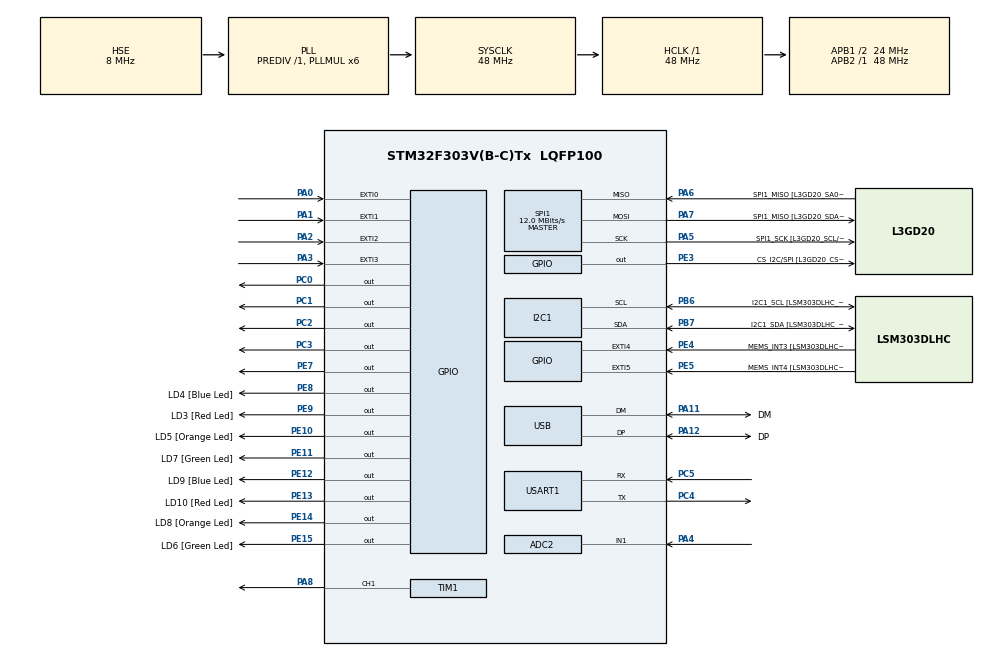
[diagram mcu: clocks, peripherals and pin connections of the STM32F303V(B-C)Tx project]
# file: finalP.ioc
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ADC2.Channel-0\#ChannelRegularConversion=ADC_CHANNEL_1
ADC2.NbrOfConversionFlag=1
ADC2.Offset-0\#ChannelRegularConversion=0
ADC2.OffsetNumber-0\#ChannelRegularConversion=ADC_OFFSET_NONE
ADC2.Rank-0\#ChannelRegularConversion=1
ADC2.SamplingTime-0\#ChannelRegularConversion=ADC_SAMPLETIME_1CYCLE_5
ADC2.SamplingTimeOPAMP-0\#ChannelRegularConversion=ADC_SAMPLETIME_19CYCLES_5
FREERTOS.BinarySemaphores01=keypadSem,Dynamic,NULL;uartITSem,Dynamic,NULL
FREERTOS.Mutexes01=lcdMutex,Dynamic,NULL
FREERTOS.Tasks01=defaultTask,24,128,StartDefaultTask,Default,NULL,Dynamic,NULL,NULL;updateLcdTsk,8,128,StartUpdateLcdTsk,Default,NULL,Dynamic,NULL,NULL;uartTxTsk,32,128,StartUartTxTsk,Default,NULL,Dynamic,NULL,NULL;lcdStateTask,8,128,StartLcdStateTask,Default,NULL,Dynamic,NULL,NULL;bulletMoveTask,8,128,StartBulletMoveTask,Default,NULL,Dynamic,NULL,NULL;buzzerTask,8,128,StartBuzzerTask,Default,NULL,Dynamic,NULL,NULL
FREERTOS.configTOTAL_HEAP_SIZE=6144
FREERTOS.configUSE_NEWLIB_REENTRANT=1
I2C1.Timing=0x2000090E
I2C1.Timing-I2C=0x2000090E
Mcu.Family=STM32F3
Mcu.Name=STM32F303V(B-C)Tx
Mcu.Package=LQFP100
NVIC.ADC1_2_IRQn=true\:5\:0\:false\:false\:true\:true\:true\:true
NVIC.EXTI0_IRQn=true\:5\:0\:false\:false\:true\:true\:true\:true
NVIC.EXTI1_IRQn=true\:5\:0\:false\:false\:true\:true\:true\:true
NVIC.EXTI2_TSC_IRQn=true\:5\:0\:false\:false\:true\:true\:true\:true
NVIC.EXTI3_IRQn=true\:5\:0\:false\:false\:true\:true\:true\:true
NVIC.PriorityGroup=NVIC_PRIORITYGROUP_4
NVIC.TIM1_TRG_COM_TIM17_IRQn=true\:5\:0\:false\:false\:true\:true\:false\:true
NVIC.TIM2_IRQn=true\:5\:0\:false\:false\:true\:true\:true\:true
NVIC.TIM6_DAC_IRQn=true\:15\:0\:false\:false\:true\:false\:false\:true
NVIC.TimeBase=TIM6_DAC_IRQn
NVIC.TimeBaseIP=TIM6
NVIC.USART1_IRQn=true\:5\:0\:false\:false\:true\:true\:true\:true
PA0.GPIO_PuPd=GPIO_PULLDOWN
PA0.Signal=GPXTI0
PA1.GPIO_PuPd=GPIO_PULLDOWN
PA1.Signal=GPXTI1
PA11.GPIO_Label=DM
PA11.Mode=Device
PA11.Signal=USB_DM
PA12.GPIO_Label=DP
PA12.Mode=Device
PA12.Signal=USB_DP
PA13.GPIO_Label=SWDIO
PA13.Mode=Serial_Wire
PA13.Signal=SYS_JTMS-SWDIO
PA14.GPIO_Label=SWCLK
PA14.Mode=Serial_Wire
PA14.Signal=SYS_JTCK-SWCLK
PA2.GPIO_PuPd=GPIO_PULLDOWN
PA2.Signal=GPXTI2
PA3.GPIO_PuPd=GPIO_PULLDOWN
PA3.Signal=GPXTI3
PA4.Mode=IN1-Single-Ended
PA4.Signal=ADC2_IN1
PA5.GPIO_Label=SPI1_SCK [L3GD20_SCL/SPC]
PA5.Mode=Full_Duplex_Master
PA5.Signal=SPI1_SCK
PA6.GPIO_Label=SPI1_MISO [L3GD20_SA0/SDO]
PA6.Mode=Full_Duplex_Master
PA6.Signal=SPI1_MISO
PA7.GPIO_Label=SPI1_MISO [L3GD20_SDA/SDI/SDO]
PA7.Mode=Full_Duplex_Master
PA7.Signal=SPI1_MOSI
PA8.Signal=S_TIM1_CH1
PB3.GPIO_Label=SWO
PB3.Signal=SYS_JTDO-TRACESWO
PB6.GPIO_Label=I2C1_SCL [LSM303DLHC_SCL]
PB6.GPIO_Pu=GPIO_PULLUP
PB6.Mode=I2C
PB6.Signal=I2C1_SCL
PB7.GPIO_Label=I2C1_SDA [LSM303DLHC_SDA]
PB7.GPIO_Pu=GPIO_PULLUP
PB7.Mode=I2C
PB7.Signal=I2C1_SDA
PC0.Signal=GPIO_Output
PC1.Signal=GPIO_Output
PC14-OSC32_IN.GPIO_Label=OSC32_IN
PC14-OSC32_IN.Signal=RCC_OSC32_IN
PC15-OSC32_OUT.GPIO_Label=OSC32_OUT
PC15-OSC32_OUT.Signal=RCC_OSC32_OUT
PC2.Signal=GPIO_Output
PC3.Signal=GPIO_Output
PC4.Mode=Asynchronous
PC4.Signal=USART1_TX
PC5.Mode=Asynchronous
PC5.Signal=USART1_RX
PE10.GPIO_Label=LD5 [Orange Led]
PE10.Signal=GPIO_Output
PE11.GPIO_Label=LD7 [Green Led]
PE11.Signal=GPIO_Output
PE12.GPIO_Label=LD9 [Blue Led]
PE12.Signal=GPIO_Output
PE13.GPIO_Label=LD10 [Red Led]
PE13.Signal=GPIO_Output
PE14.GPIO_Label=LD8 [Orange Led]
PE14.Signal=GPIO_Output
PE15.GPIO_Label=LD6 [Green Led]
PE15.Signal=GPIO_Output
PE3.GPIO_Label=CS_I2C/SPI [L3GD20_CS_I2C/SPI]
PE3.Signal=GPIO_Output
PE4.GPIO_Label=MEMS_INT3 [LSM303DLHC_INT1]
PE4.GPIO_ModeDefaultEXTI=GPIO_MODE_EVT_RISING
PE4.Signal=GPXTI4
PE5.GPIO_Label=MEMS_INT4 [LSM303DLHC_INT2]
PE5.GPIO_ModeDefaultEXTI=GPIO_MODE_EVT_RISING
PE5.Signal=GPXTI5
PE7.Signal=GPIO_Output
PE8.GPIO_Label=LD4 [Blue Led]
PE8.Signal=GPIO_Output
PE9.GPIO_Label=LD3 [Red Led]
PE9.Signal=GPIO_Output
PF0-OSC_IN.GPIO_Label=OSC_IN
PF0-OSC_IN.Mode=HSE-External-Clock-Source
PF0-OSC_IN.Signal=RCC_OSC_IN
PF1-OSC_OUT.GPIO_Label=OSC_OUT
PF1-OSC_OUT.Signal=RCC_OSC_OUT
ProjectManager.HeapSize=0x200
ProjectManager.StackSize=0x400
ProjectManager.TargetToolchain=STM32CubeIDE
RCC.AHBFreq_Value=48000000
RCC.APB1CLKDivider=RCC_HCLK_DIV2
RCC.APB1Freq_Value=24000000
RCC.APB1TimFreq_Value=48000000
RCC.APB2Freq_Value=48000000
RCC.APB2TimFreq_Value=48000000
RCC.CortexFreq_Value=48000000
RCC.HCLKFreq_Value=48000000
RCC.HSE_VALUE=8000000
RCC.HSI_VALUE=8000000
RCC.LSE_VALUE=32768
RCC.PLLMUL=RCC_PLL_MUL6
RCC.SYSCLKFreq_VALUE=48000000
RCC.SYSCLKSourceVirtual=RCC_SYSCLKSOURCE_PLLCLK
RCC.USBFreq_Value=48000000
SH.S_TIM1_CH1.0=TIM1_CH1,PWM Generation1 CH1
SPI1.BaudRatePrescaler=SPI_BAUDRATEPRESCALER_4
SPI1.BaudRatePrescaler-Full_Duplex_Master=SPI_BAUDRATEPRESCALER_2
SPI1.CalculateBaudRate=12.0 MBits/s
SPI1.CalculateBaudRate-Full_Duplex_Master=24.0 MBits/s
SPI1.Direction=SPI_DIRECTION_2LINES
SPI1.Mode=SPI_MODE_MASTER
SPI1.Mode-Full_Duplex_Master=SPI_MODE_MASTER
SPI1.VirtualType=VM_MASTER
TIM1.Channel-PWM\ Generation1\ CH1=TIM_CHANNEL_1
TIM2.Period=1000
TIM2.Prescaler=143
USART1.VirtualMode-Asynchronous=VM_ASYNC
VP_FREERTOS_VS_CMSIS_V2.Mode=CMSIS_V2
VP_RTC_VS_RTC_Activate.Mode=RTC_Enabled
VP_RTC_VS_RTC_Calendar.Mode=RTC_Calendar
VP_SYS_VS_tim6.Mode=TIM6
VP_TIM1_VS_ClockSourceINT.Mode=Internal
VP_TIM2_VS_ClockSourceINT.Mode=Internal
board=STM32F3DISCOVERY

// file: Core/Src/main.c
/* USER CODE BEGIN Header */
/**
 ******************************************************************************
 * @file           : main.c
 * @brief          : Main program body
 ******************************************************************************
 * @attention
 *
 * <h2><center>&copy; Copyright (c) 2023 STMicroelectronics.
 * All rights reserved.</center></h2>
 *
 * This software component is licensed by ST under BSD 3-Clause license,
 * the "License"; You may not use this file except in compliance with the
 * License. You may obtain a copy of the License at:
 *                        opensource.org/licenses/BSD-3-Clause
 *
 ******************************************************************************
 */
/* USER CODE END Header */
#include "main.h"
#include "cmsis_os.h"
#include "buzzer.h"

/* USER CODE BEGIN PD */
int bulletMoveDelay = 100;
/* USER CODE END PD */

ADC_HandleTypeDef hadc2;

I2C_HandleTypeDef hi2c1;

RTC_HandleTypeDef hrtc;

SPI_HandleTypeDef hspi1;

TIM_HandleTypeDef htim1;
TIM_HandleTypeDef htim2;

UART_HandleTypeDef huart1;

PCD_HandleTypeDef hpcd_USB_FS;

/* Definitions for defaultTask */
osThreadId_t defaultTaskHandle;
const osThreadAttr_t defaultTask_attributes = { .name = "defaultTask",
		.stack_size = 128 * 4, .priority = (osPriority_t) osPriorityNormal, };
/* Definitions for updateLcdTsk */
osThreadId_t updateLcdTskHandle;
const osThreadAttr_t updateLcdTsk_attributes = { .name = "updateLcdTsk",
		.stack_size = 128 * 4, .priority = (osPriority_t) osPriorityLow, };
/* Definitions for uartTxTsk */
osThreadId_t uartTxTskHandle;
const osThreadAttr_t uartTxTsk_attributes = { .name = "uartTxTsk", .stack_size =
		128 * 4, .priority = (osPriority_t) osPriorityAboveNormal, };
/* Definitions for lcdStateTask */
osThreadId_t lcdStateTaskHandle;
const osThreadAttr_t lcdStateTask_attributes = { .name = "lcdStateTask",
		.stack_size = 128 * 4, .priority = (osPriority_t) osPriorityLow, };
/* Definitions for bulletMoveTask */
osThreadId_t bulletMoveTaskHandle;
const osThreadAttr_t bulletMoveTask_attributes = { .name = "bulletMoveTask",
		.stack_size = 128 * 4, .priority = (osPriority_t) osPriorityLow, };
/* Definitions for buzzerTask */
osThreadId_t buzzerTaskHandle;
const osThreadAttr_t buzzerTask_attributes = { .name = "buzzerTask",
		.stack_size = 128 * 4, .priority = (osPriority_t) osPriorityLow, };
/* Definitions for lcdMutex */
osMutexId_t lcdMutexHandle;
const osMutexAttr_t lcdMutex_attributes = { .name = "lcdMutex" };
/* Definitions for keypadSem */
osSemaphoreId_t keypadSemHandle;
const osSemaphoreAttr_t keypadSem_attributes = { .name = "keypadSem" };
/* Definitions for uartITSem */
osSemaphoreId_t uartITSemHandle;
const osSemaphoreAttr_t uartITSem_attributes = { .name = "uartITSem" };
/* USER CODE BEGIN PV */
extern int flag;
char op[2];
int len;
extern uint8_t keypadNum;
typedef unsigned char byte;
//byte five[] = { 0x02, 0x0D, 0x14, 0x1C, 0x1C, 0x14, 0x0D, 0x02 };
//byte four[] = { 0x04, 0x17, 0x0D, 0x15, 0x14, 0x0D, 0x17, 0x04 };
//byte three[] = { 0x02, 0x1D, 0x14, 0x1A, 0x1A, 0x14, 0x1D, 0x02 };
//byte tow[] = { 0x1A, 0x15, 0x1C, 0x10, 0x10, 0x1C, 0x15, 0x1A };
//byte one[] = { 0x02, 0x07, 0x0D, 0x14, 0x14, 0x0D, 0x07, 0x02 };
//byte player[] = { 0x01, 0x03, 0x07, 0x1F, 0x1F, 0x07, 0x03, 0x01 };
//
//int pos[20][4] = { { 5, 5, 5, 5 }, { 5, 5, 5, 5 }, { 4, 4, 4, 4 },
//		{ 4, 4, 4, 4 }, { 3, 3, 3, 3 }, { 3, 3, 3, 3 }, { 2, 2, 2, 2 }, { 2, 2,
//				2, 2 }, { 1, 1, 1, 1 }, { 1, 1, 1, 1 }, { -1, -1, -1, -1 }, {
//				-1, -1, -1, -1 }, { -1, -1, -1, -1 }, { -1, -1, -1, -1 }, { -1,
//				-1, -1, -1 }, { -1, -1, -1, -1 }, { -1, -1, -1, -1 }, { -1, -1,
//				-1, -1 }, { -1, -1, -1, -1 }, { -1, -1, -1, 0 } };
/* USER CODE END PV */

void SystemClock_Config(void);
static void MX_GPIO_Init(void);
static void MX_I2C1_Init(void);
static void MX_SPI1_Init(void);
static void MX_USB_PCD_Init(void);
static void MX_TIM1_Init(void);
static void MX_TIM2_Init(void);
static void MX_USART1_UART_Init(void);
static void MX_ADC2_Init(void);
static void MX_RTC_Init(void);
void StartDefaultTask(void *argument);
void StartUpdateLcdTsk(void *argument);
void StartUartTxTsk(void *argument);
void StartLcdStateTask(void *argument);
void StartBulletMoveTask(void *argument);
void StartBuzzerTask(void *argument);

/* USER CODE BEGIN PFP */
void setup(void);
void showPos(void);
/* USER CODE END PFP */

int main(void) {

	/* MCU Configuration--------------------------------------------------------*/

	/* Reset of all peripherals, Initializes the Flash interface and the Systick. */
	HAL_Init();

	/* Configure the system clock */
	SystemClock_Config();

	/* Initialize all configured peripherals */
	MX_GPIO_Init();
	MX_I2C1_Init();
	MX_SPI1_Init();
	MX_USB_PCD_Init();
	MX_TIM1_Init();
	MX_TIM2_Init();
	MX_USART1_UART_Init();
	MX_ADC2_Init();
	MX_RTC_Init();
	/* USER CODE BEGIN 2 */
	programInit();

	/* USER CODE END 2 */

	/* Init scheduler */
	osKernelInitialize();
	/* Create the mutex(es) */
	/* creation of lcdMutex */
	lcdMutexHandle = osMutexNew(&lcdMutex_attributes);

	/* Create the semaphores(s) */
	/* creation of keypadSem */
	keypadSemHandle = osSemaphoreNew(1, 1, &keypadSem_attributes);

	/* creation of uartITSem */
	uartITSemHandle = osSemaphoreNew(1, 1, &uartITSem_attributes);

	/* Create the thread(s) */
	/* creation of defaultTask */
	defaultTaskHandle = osThreadNew(StartDefaultTask, NULL,
			&defaultTask_attributes);

	/* creation of updateLcdTsk */
	updateLcdTskHandle = osThreadNew(StartUpdateLcdTsk, NULL,
			&updateLcdTsk_attributes);

	/* creation of uartTxTsk */
	uartTxTskHandle = osThreadNew(StartUartTxTsk, NULL, &uartTxTsk_attributes);

	/* creation of lcdStateTask */
	lcdStateTaskHandle = osThreadNew(StartLcdStateTask, NULL,
			&lcdStateTask_attributes);

	/* creation of bulletMoveTask */
	bulletMoveTaskHandle = osThreadNew(StartBulletMoveTask, NULL,
			&bulletMoveTask_attributes);

	/* creation of buzzerTask */
	buzzerTaskHandle = osThreadNew(StartBuzzerTask, NULL,
			&buzzerTask_attributes);

	/* Start scheduler */
	osKernelStart();

	/* We should never get here as control is now taken by the scheduler */
	/* Infinite loop */
	while (1) {

	}
}

void SystemClock_Config(void) {
	RCC_OscInitTypeDef RCC_OscInitStruct = { 0 };
	RCC_ClkInitTypeDef RCC_ClkInitStruct = { 0 };
	RCC_PeriphCLKInitTypeDef PeriphClkInit = { 0 };

	/** Initializes the RCC Oscillators according to the specified parameters
	 * in the RCC_OscInitTypeDef structure.
	 */
	RCC_OscInitStruct.OscillatorType = RCC_OSCILLATORTYPE_HSI
			| RCC_OSCILLATORTYPE_LSI | RCC_OSCILLATORTYPE_HSE;
	RCC_OscInitStruct.HSEState = RCC_HSE_BYPASS;
	RCC_OscInitStruct.HSEPredivValue = RCC_HSE_PREDIV_DIV1;
	RCC_OscInitStruct.HSIState = RCC_HSI_ON;
	RCC_OscInitStruct.HSICalibrationValue = RCC_HSICALIBRATION_DEFAULT;
	RCC_OscInitStruct.LSIState = RCC_LSI_ON;
	RCC_OscInitStruct.PLL.PLLState = RCC_PLL_ON;
	RCC_OscInitStruct.PLL.PLLSource = RCC_PLLSOURCE_HSE;
	RCC_OscInitStruct.PLL.PLLMUL = RCC_PLL_MUL6;
	if (HAL_RCC_OscConfig(&RCC_OscInitStruct) != HAL_OK) {
		Error_Handler();
	}
	/** Initializes the CPU, AHB and APB buses clocks
	 */
	RCC_ClkInitStruct.ClockType = RCC_CLOCKTYPE_HCLK | RCC_CLOCKTYPE_SYSCLK
			| RCC_CLOCKTYPE_PCLK1 | RCC_CLOCKTYPE_PCLK2;
	RCC_ClkInitStruct.SYSCLKSource = RCC_SYSCLKSOURCE_PLLCLK;
	RCC_ClkInitStruct.AHBCLKDivider = RCC_SYSCLK_DIV1;
	RCC_ClkInitStruct.APB1CLKDivider = RCC_HCLK_DIV2;
	RCC_ClkInitStruct.APB2CLKDivider = RCC_HCLK_DIV1;

	if (HAL_RCC_ClockConfig(&RCC_ClkInitStruct, FLASH_LATENCY_1) != HAL_OK) {
		Error_Handler();
	}
	PeriphClkInit.PeriphClockSelection = RCC_PERIPHCLK_USB
			| RCC_PERIPHCLK_USART1 | RCC_PERIPHCLK_I2C1 | RCC_PERIPHCLK_RTC
			| RCC_PERIPHCLK_TIM1 | RCC_PERIPHCLK_ADC12;
	PeriphClkInit.Usart1ClockSelection = RCC_USART1CLKSOURCE_PCLK2;
	PeriphClkInit.Adc12ClockSelection = RCC_ADC12PLLCLK_DIV1;
	PeriphClkInit.I2c1ClockSelection = RCC_I2C1CLKSOURCE_HSI;
	PeriphClkInit.RTCClockSelection = RCC_RTCCLKSOURCE_LSI;
	PeriphClkInit.USBClockSelection = RCC_USBCLKSOURCE_PLL;
	PeriphClkInit.Tim1ClockSelection = RCC_TIM1CLK_HCLK;
	if (HAL_RCCEx_PeriphCLKConfig(&PeriphClkInit) != HAL_OK) {
		Error_Handler();
	}
}

static void MX_ADC2_Init(void) {

	ADC_ChannelConfTypeDef sConfig = { 0 };

	/** Common config
	 */
	hadc2.Instance = ADC2;
	hadc2.Init.ClockPrescaler = ADC_CLOCK_ASYNC_DIV1;
	hadc2.Init.Resolution = ADC_RESOLUTION_12B;
	hadc2.Init.ScanConvMode = ADC_SCAN_DISABLE;
	hadc2.Init.ContinuousConvMode = DISABLE;
	hadc2.Init.DiscontinuousConvMode = DISABLE;
	hadc2.Init.ExternalTrigConvEdge = ADC_EXTERNALTRIGCONVEDGE_NONE;
	hadc2.Init.ExternalTrigConv = ADC_SOFTWARE_START;
	hadc2.Init.DataAlign = ADC_DATAALIGN_RIGHT;
	hadc2.Init.NbrOfConversion = 1;
	hadc2.Init.DMAContinuousRequests = DISABLE;
	hadc2.Init.EOCSelection = ADC_EOC_SINGLE_CONV;
	hadc2.Init.LowPowerAutoWait = DISABLE;
	hadc2.Init.Overrun = ADC_OVR_DATA_OVERWRITTEN;
	if (HAL_ADC_Init(&hadc2) != HAL_OK) {
		Error_Handler();
	}
	/** Configure Regular Channel
	 */
	sConfig.Channel = ADC_CHANNEL_1;
	sConfig.Rank = ADC_REGULAR_RANK_1;
	sConfig.SingleDiff = ADC_SINGLE_ENDED;
	sConfig.SamplingTime = ADC_SAMPLETIME_1CYCLE_5;
	sConfig.OffsetNumber = ADC_OFFSET_NONE;
	sConfig.Offset = 0;
	if (HAL_ADC_ConfigChannel(&hadc2, &sConfig) != HAL_OK) {
		Error_Handler();
	}

}

static void MX_I2C1_Init(void) {

	hi2c1.Instance = I2C1;
	hi2c1.Init.Timing = 0x2000090E;
	hi2c1.Init.OwnAddress1 = 0;
	hi2c1.Init.AddressingMode = I2C_ADDRESSINGMODE_7BIT;
	hi2c1.Init.DualAddressMode = I2C_DUALADDRESS_DISABLE;
	hi2c1.Init.OwnAddress2 = 0;
	hi2c1.Init.OwnAddress2Masks = I2C_OA2_NOMASK;
	hi2c1.Init.GeneralCallMode = I2C_GENERALCALL_DISABLE;
	hi2c1.Init.NoStretchMode = I2C_NOSTRETCH_DISABLE;
	if (HAL_I2C_Init(&hi2c1) != HAL_OK) {
		Error_Handler();
	}
	/** Configure Analogue filter
	 */
	if (HAL_I2CEx_ConfigAnalogFilter(&hi2c1, I2C_ANALOGFILTER_ENABLE)
			!= HAL_OK) {
		Error_Handler();
	}
	/** Configure Digital filter
	 */
	if (HAL_I2CEx_ConfigDigitalFilter(&hi2c1, 0) != HAL_OK) {
		Error_Handler();
	}

}

static void MX_RTC_Init(void) {

	RTC_TimeTypeDef sTime = { 0 };
	RTC_DateTypeDef sDate = { 0 };

	/** Initialize RTC Only
	 */
	hrtc.Instance = RTC;
	hrtc.Init.HourFormat = RTC_HOURFORMAT_24;
	hrtc.Init.AsynchPrediv = 127;
	hrtc.Init.SynchPrediv = 255;
	hrtc.Init.OutPut = RTC_OUTPUT_DISABLE;
	hrtc.Init.OutPutPolarity = RTC_OUTPUT_POLARITY_HIGH;
	hrtc.Init.OutPutType = RTC_OUTPUT_TYPE_OPENDRAIN;
	if (HAL_RTC_Init(&hrtc) != HAL_OK) {
		Error_Handler();
	}

	/** Initialize RTC and set the Time and Date
	 */
	sTime.Hours = 0x0;
	sTime.Minutes = 0x0;
	sTime.Seconds = 0x0;
	sTime.DayLightSaving = RTC_DAYLIGHTSAVING_NONE;
	sTime.StoreOperation = RTC_STOREOPERATION_RESET;
	if (HAL_RTC_SetTime(&hrtc, &sTime, RTC_FORMAT_BCD) != HAL_OK) {
		Error_Handler();
	}
	sDate.WeekDay = RTC_WEEKDAY_MONDAY;
	sDate.Month = RTC_MONTH_JANUARY;
	sDate.Date = 0x1;
	sDate.Year = 0x0;

	if (HAL_RTC_SetDate(&hrtc, &sDate, RTC_FORMAT_BCD) != HAL_OK) {
		Error_Handler();
	}

}

static void MX_SPI1_Init(void) {

	/* SPI1 parameter configuration*/
	hspi1.Instance = SPI1;
	hspi1.Init.Mode = SPI_MODE_MASTER;
	hspi1.Init.Direction = SPI_DIRECTION_2LINES;
	hspi1.Init.DataSize = SPI_DATASIZE_4BIT;
	hspi1.Init.CLKPolarity = SPI_POLARITY_LOW;
	hspi1.Init.CLKPhase = SPI_PHASE_1EDGE;
	hspi1.Init.NSS = SPI_NSS_SOFT;
	hspi1.Init.BaudRatePrescaler = SPI_BAUDRATEPRESCALER_4;
	hspi1.Init.FirstBit = SPI_FIRSTBIT_MSB;
	hspi1.Init.TIMode = SPI_TIMODE_DISABLE;
	hspi1.Init.CRCCalculation = SPI_CRCCALCULATION_DISABLE;
	hspi1.Init.CRCPolynomial = 7;
	hspi1.Init.CRCLength = SPI_CRC_LENGTH_DATASIZE;
	hspi1.Init.NSSPMode = SPI_NSS_PULSE_ENABLE;
	if (HAL_SPI_Init(&hspi1) != HAL_OK) {
		Error_Handler();
	}

}

static void MX_TIM1_Init(void) {

	TIM_ClockConfigTypeDef sClockSourceConfig = { 0 };
	TIM_MasterConfigTypeDef sMasterConfig = { 0 };
	TIM_OC_InitTypeDef sConfigOC = { 0 };
	TIM_BreakDeadTimeConfigTypeDef sBreakDeadTimeConfig = { 0 };

	htim1.Instance = TIM1;
	htim1.Init.Prescaler = 0;
	htim1.Init.CounterMode = TIM_COUNTERMODE_UP;
	htim1.Init.Period = 65535;
	htim1.Init.ClockDivision = TIM_CLOCKDIVISION_DIV1;
	htim1.Init.RepetitionCounter = 0;
	htim1.Init.AutoReloadPreload = TIM_AUTORELOAD_PRELOAD_DISABLE;
	if (HAL_TIM_Base_Init(&htim1) != HAL_OK) {
		Error_Handler();
	}
	sClockSourceConfig.ClockSource = TIM_CLOCKSOURCE_INTERNAL;
	if (HAL_TIM_ConfigClockSource(&htim1, &sClockSourceConfig) != HAL_OK) {
		Error_Handler();
	}
	if (HAL_TIM_PWM_Init(&htim1) != HAL_OK) {
		Error_Handler();
	}
	sMasterConfig.MasterOutputTrigger = TIM_TRGO_RESET;
	sMasterConfig.MasterOutputTrigger2 = TIM_TRGO2_RESET;
	sMasterConfig.MasterSlaveMode = TIM_MASTERSLAVEMODE_DISABLE;
	if (HAL_TIMEx_MasterConfigSynchronization(&htim1, &sMasterConfig)
			!= HAL_OK) {
		Error_Handler();
	}
	sConfigOC.OCMode = TIM_OCMODE_PWM1;
	sConfigOC.Pulse = 0;
	sConfigOC.OCPolarity = TIM_OCPOLARITY_HIGH;
	sConfigOC.OCNPolarity = TIM_OCNPOLARITY_HIGH;
	sConfigOC.OCFastMode = TIM_OCFAST_DISABLE;
	sConfigOC.OCIdleState = TIM_OCIDLESTATE_RESET;
	sConfigOC.OCNIdleState = TIM_OCNIDLESTATE_RESET;
	if (HAL_TIM_PWM_ConfigChannel(&htim1, &sConfigOC, TIM_CHANNEL_1)
			!= HAL_OK) {
		Error_Handler();
	}
	sBreakDeadTimeConfig.OffStateRunMode = TIM_OSSR_DISABLE;
	sBreakDeadTimeConfig.OffStateIDLEMode = TIM_OSSI_DISABLE;
	sBreakDeadTimeConfig.LockLevel = TIM_LOCKLEVEL_OFF;
	sBreakDeadTimeConfig.DeadTime = 0;
	sBreakDeadTimeConfig.BreakState = TIM_BREAK_DISABLE;
	sBreakDeadTimeConfig.BreakPolarity = TIM_BREAKPOLARITY_HIGH;
	sBreakDeadTimeConfig.BreakFilter = 0;
	sBreakDeadTimeConfig.Break2State = TIM_BREAK2_DISABLE;
	sBreakDeadTimeConfig.Break2Polarity = TIM_BREAK2POLARITY_HIGH;
	sBreakDeadTimeConfig.Break2Filter = 0;
	sBreakDeadTimeConfig.AutomaticOutput = TIM_AUTOMATICOUTPUT_DISABLE;
	if (HAL_TIMEx_ConfigBreakDeadTime(&htim1, &sBreakDeadTimeConfig)
			!= HAL_OK) {
		Error_Handler();
	}
	HAL_TIM_MspPostInit(&htim1);

}

static void MX_TIM2_Init(void) {

	TIM_ClockConfigTypeDef sClockSourceConfig = { 0 };
	TIM_MasterConfigTypeDef sMasterConfig = { 0 };

	htim2.Instance = TIM2;
	htim2.Init.Prescaler = 143;
	htim2.Init.CounterMode = TIM_COUNTERMODE_UP;
	htim2.Init.Period = 1000;
	htim2.Init.ClockDivision = TIM_CLOCKDIVISION_DIV1;
	htim2.Init.AutoReloadPreload = TIM_AUTORELOAD_PRELOAD_DISABLE;
	if (HAL_TIM_Base_Init(&htim2) != HAL_OK) {
		Error_Handler();
	}
	sClockSourceConfig.ClockSource = TIM_CLOCKSOURCE_INTERNAL;
	if (HAL_TIM_ConfigClockSource(&htim2, &sClockSourceConfig) != HAL_OK) {
		Error_Handler();
	}
	sMasterConfig.MasterOutputTrigger = TIM_TRGO_RESET;
	sMasterConfig.MasterSlaveMode = TIM_MASTERSLAVEMODE_DISABLE;
	if (HAL_TIMEx_MasterConfigSynchronization(&htim2, &sMasterConfig)
			!= HAL_OK) {
		Error_Handler();
	}

}

static void MX_USART1_UART_Init(void) {

	huart1.Instance = USART1;
	huart1.Init.BaudRate = 38400;
	huart1.Init.WordLength = UART_WORDLENGTH_8B;
	huart1.Init.StopBits = UART_STOPBITS_1;
	huart1.Init.Parity = UART_PARITY_NONE;
	huart1.Init.Mode = UART_MODE_TX_RX;
	huart1.Init.HwFlowCtl = UART_HWCONTROL_NONE;
	huart1.Init.OverSampling = UART_OVERSAMPLING_16;
	huart1.Init.OneBitSampling = UART_ONE_BIT_SAMPLE_DISABLE;
	huart1.AdvancedInit.AdvFeatureInit = UART_ADVFEATURE_NO_INIT;
	if (HAL_UART_Init(&huart1) != HAL_OK) {
		Error_Handler();
	}

}

static void MX_USB_PCD_Init(void) {

	hpcd_USB_FS.Instance = USB;
	hpcd_USB_FS.Init.dev_endpoints = 8;
	hpcd_USB_FS.Init.speed = PCD_SPEED_FULL;
	hpcd_USB_FS.Init.phy_itface = PCD_PHY_EMBEDDED;
	hpcd_USB_FS.Init.low_power_enable = DISABLE;
	hpcd_USB_FS.Init.battery_charging_enable = DISABLE;
	if (HAL_PCD_Init(&hpcd_USB_FS) != HAL_OK) {
		Error_Handler();
	}

}

static void MX_GPIO_Init(void) {
	GPIO_InitTypeDef GPIO_InitStruct = { 0 };

	/* GPIO Ports Clock Enable */
	__HAL_RCC_GPIOE_CLK_ENABLE();
	__HAL_RCC_GPIOC_CLK_ENABLE();
	__HAL_RCC_GPIOF_CLK_ENABLE();
	__HAL_RCC_GPIOA_CLK_ENABLE();
	__HAL_RCC_GPIOB_CLK_ENABLE();

	/*Configure GPIO pin Output Level */
	HAL_GPIO_WritePin(GPIOE,
			CS_I2C_SPI_Pin | GPIO_PIN_7 | LD4_Pin | LD3_Pin | LD5_Pin | LD7_Pin
					| LD9_Pin | LD10_Pin | LD8_Pin | LD6_Pin, GPIO_PIN_RESET);

	/*Configure GPIO pin Output Level */
	HAL_GPIO_WritePin(GPIOC, GPIO_PIN_0 | GPIO_PIN_1 | GPIO_PIN_2 | GPIO_PIN_3,
			GPIO_PIN_RESET);

	/*Configure GPIO pins : CS_I2C_SPI_Pin PE7 LD4_Pin LD3_Pin
	 LD5_Pin LD7_Pin LD9_Pin LD10_Pin
	 LD8_Pin LD6_Pin */
	GPIO_InitStruct.Pin = CS_I2C_SPI_Pin | GPIO_PIN_7 | LD4_Pin | LD3_Pin
			| LD5_Pin | LD7_Pin | LD9_Pin | LD10_Pin | LD8_Pin | LD6_Pin;
	GPIO_InitStruct.Mode = GPIO_MODE_OUTPUT_PP;
	GPIO_InitStruct.Pull = GPIO_NOPULL;
	GPIO_InitStruct.Speed = GPIO_SPEED_FREQ_LOW;
	HAL_GPIO_Init(GPIOE, &GPIO_InitStruct);

	/*Configure GPIO pins : MEMS_INT3_Pin MEMS_INT4_Pin */
	GPIO_InitStruct.Pin = MEMS_INT3_Pin | MEMS_INT4_Pin;
	GPIO_InitStruct.Mode = GPIO_MODE_EVT_RISING;
	GPIO_InitStruct.Pull = GPIO_NOPULL;
	HAL_GPIO_Init(GPIOE, &GPIO_InitStruct);

	/*Configure GPIO pins : PC0 PC1 PC2 PC3 */
	GPIO_InitStruct.Pin = GPIO_PIN_0 | GPIO_PIN_1 | GPIO_PIN_2 | GPIO_PIN_3;
	GPIO_InitStruct.Mode = GPIO_MODE_OUTPUT_PP;
	GPIO_InitStruct.Pull = GPIO_NOPULL;
	GPIO_InitStruct.Speed = GPIO_SPEED_FREQ_LOW;
	HAL_GPIO_Init(GPIOC, &GPIO_InitStruct);

	/*Configure GPIO pins : PA0 PA1 PA2 PA3 */
	GPIO_InitStruct.Pin = GPIO_PIN_0 | GPIO_PIN_1 | GPIO_PIN_2 | GPIO_PIN_3;
	GPIO_InitStruct.Mode = GPIO_MODE_IT_RISING;
	GPIO_InitStruct.Pull = GPIO_PULLDOWN;
	HAL_GPIO_Init(GPIOA, &GPIO_InitStruct);

	/* EXTI interrupt init*/
	HAL_NVIC_SetPriority(EXTI0_IRQn, 5, 0);
	HAL_NVIC_EnableIRQ(EXTI0_IRQn);

	HAL_NVIC_SetPriority(EXTI1_IRQn, 5, 0);
	HAL_NVIC_EnableIRQ(EXTI1_IRQn);

	HAL_NVIC_SetPriority(EXTI2_TSC_IRQn, 5, 0);
	HAL_NVIC_EnableIRQ(EXTI2_TSC_IRQn);

	HAL_NVIC_SetPriority(EXTI3_IRQn, 5, 0);
	HAL_NVIC_EnableIRQ(EXTI3_IRQn);

}

/* USER CODE BEGIN 4 */
//void setup() {
//	LiquidCrystal(GPIOD, GPIO_PIN_8, GPIO_PIN_9, GPIO_PIN_10, GPIO_PIN_11,
//			GPIO_PIN_12, GPIO_PIN_13, GPIO_PIN_14);
//	begin(20, 4);
//	createChar(0, player);
//	createChar(1, one);
//	createChar(2, tow);
//	createChar(3, three);
//	createChar(4, four);
//	createChar(5, five);
//
//
//
//	setCursor(2,1);
//
//}
//void updateGameLcd(void) {
//	for (int j = 0; j < 4; j++) {
//		setCursor(0, j);
//		for (int i = 0; i < 20; i++) {
//			if (pos[i][j] < 0)
//				print(" ");
//			else
//				write(pos[i][j]);
//		}
//	}
//}
/* USER CODE END 4 */

void StartDefaultTask(void *argument) {
	/* USER CODE BEGIN 5 */
	/* Infinite loop */

	for (;;) {
		if (flag == 1) {

		}
		osDelay(1000);
	}
	/* USER CODE END 5 */
}

void StartUpdateLcdTsk(void *argument) {
	/* USER CODE BEGIN StartUpdateLcdTsk */
	lcdInit();
	introStart();
	int writeCount;
	int maxCount = 0;
	/* Infinite loop */
	for (;;) {
		writeCount = programRun();
		osDelay(10);
	}
	/* USER CODE END StartUpdateLcdTsk */
}

void StartUartTxTsk(void *argument) {
	/* USER CODE BEGIN StartUartTxTsk */

	/* Infinite loop */
	for (;;) {
		osSemaphoreAcquire(keypadSemHandle, osWaitForever);
		len = sprintf(op, "%d\n", keypadNum);
		HAL_UART_Transmit(&huart1, op, len, 100);
		keypadHandle();

		HAL_GPIO_TogglePin(GPIOE, GPIO_PIN_8);
	}
	/* USER CODE END StartUartTxTsk */
}

void StartLcdStateTask(void *argument) {
	/* USER CODE BEGIN StartLcdStateTask */
	/* Infinite loop */
	for (;;) {
		gameSync();
	}
	/* USER CODE END StartLcdStateTask */
}

void StartBulletMoveTask(void *argument) {
	/* USER CODE BEGIN StartBulletMoveTask */
	/* Infinite loop */
	for (;;) {
		bulletUpdate();
		osDelay(bulletMoveDelay);
	}
	/* USER CODE END StartBulletMoveTask */
}

void StartBuzzerTask(void *argument) {
	/* USER CODE BEGIN StartBuzzerTask */
	PWM_Start();
	Change_Melody(super_mario_bros, super_mario_bros_size);
	/* Infinite loop */
	for (;;) {
		buzzerHandle();
	}
	/* USER CODE END StartBuzzerTask */
}

void HAL_TIM_PeriodElapsedCallback(TIM_HandleTypeDef *htim) {
	if (htim->Instance == TIM6) {
		HAL_IncTick();
	}
}

void Error_Handler(void) {
	__disable_irq();
	while (1) {
	}
}

/************************ (C) COPYRIGHT STMicroelectronics *****END OF FILE****/
